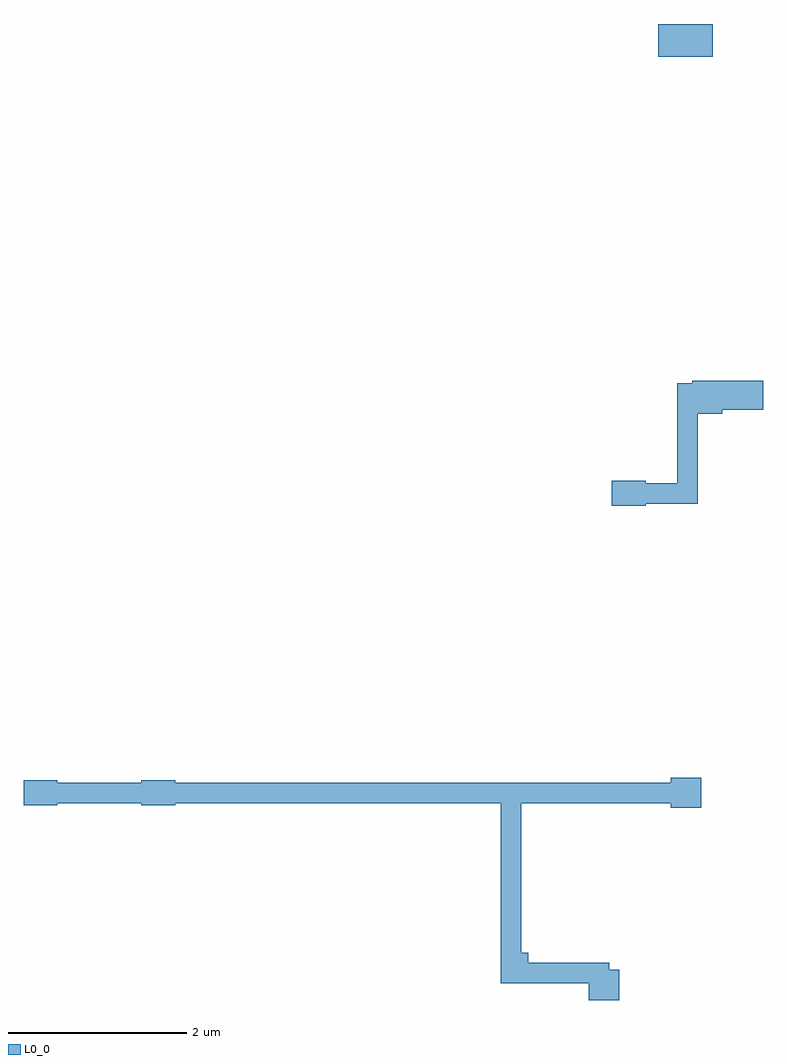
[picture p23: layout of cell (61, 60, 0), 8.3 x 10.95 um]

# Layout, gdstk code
import gdstk
lib = gdstk.Library(unit=1e-6, precision=1e-09)
def P(c, l, *ps):  # polygons
    for p in ps: c.add(gdstk.Polygon(p, *l))
L0_0 = (0, 0)

c__61__60__0_ = lib.new_cell('(61, 60, 0)')
P(c__61__60__0_, L0_0, [(990.875,954.635),(994.95,954.635),(994.95,954.405),(990.875,954.405),(990.875,954.635)],
  [(989.48,954.66),(989.86,954.66),(989.86,954.38),(989.48,954.38),(989.48,954.66)],
  [(990.8,954.66),(991.18,954.66),(991.18,954.38),(990.8,954.38),(990.8,954.66)],
  [(997.08,954.35),(996.74,954.35),(996.74,954.405),(995.065,954.405),(995.065,952.725),(995.14,952.725),(995.14,952.615),(996.05,952.615),(996.05,952.535),(996.16,952.535),(996.16,952.195),(995.82,952.195),(995.82,952.385),(994.835,952.385),(994.835,954.635),(996.74,954.635),(996.74,954.69),(997.08,954.69),(997.08,954.35)],
  [(989.555,954.635),(991.105,954.635),(991.105,954.405),(989.555,954.405),(989.555,954.635)],
  [(989.48,954.66),(989.86,954.66),(989.86,954.38),(989.48,954.38),(989.48,954.66)],
  [(989.555,954.635),(991.105,954.635),(991.105,954.405),(989.555,954.405),(989.555,954.635)],
  [(990.8,954.66),(991.18,954.66),(991.18,954.38),(990.8,954.38),(990.8,954.66)],
  [(996.08,958.02),(996.46,958.02),(996.46,957.74),(996.08,957.74),(996.08,958.02)],
  [(997.4,959.14),(997.78,959.14),(997.78,958.86),(997.4,958.86),(997.4,959.14)],
  [(996.98,958.775),(996.98,959.14),(997.78,959.14),(997.78,958.815),(997.32,958.815),(997.32,958.775),(996.98,958.775)],
  [(996.815,959.115),(997.59,959.115),(997.59,958.885),(996.815,958.885),(996.815,959.115)],
  [(996.815,957.765),(996.815,959.115),(997.045,959.115),(997.045,957.765),(996.815,957.765)],
  [(996.155,957.995),(997.045,957.995),(997.045,957.765),(996.155,957.765),(996.155,957.995)],
  [(996.98,958.775),(996.98,959.14),(997.78,959.14),(997.78,958.815),(997.32,958.815),(997.32,958.775),(996.98,958.775)],
  [(996.815,957.765),(996.815,959.115),(997.045,959.115),(997.045,957.765),(996.815,957.765)],
  [(996.155,957.995),(997.045,957.995),(997.045,957.765),(996.155,957.765),(996.155,957.995)],
  [(996.08,958.02),(996.46,958.02),(996.46,957.74),(996.08,957.74),(996.08,958.02)],
  [(996.155,957.995),(997.045,957.995),(997.045,957.765),(996.155,957.765),(996.155,957.995)],
  [(997.4,959.14),(997.78,959.14),(997.78,958.86),(997.4,958.86),(997.4,959.14)],
  [(996.98,958.775),(996.98,959.14),(997.78,959.14),(997.78,958.815),(997.32,958.815),(997.32,958.775),(996.98,958.775)],
  [(996.6,963.145),(997.21,963.145),(997.21,962.775),(996.6,962.775),(996.6,963.145)],
  [(996.74,963.06),(997.12,963.06),(997.12,962.78),(996.74,962.78),(996.74,963.06)])

lib.write_gds('_61__60__0_.gds')
